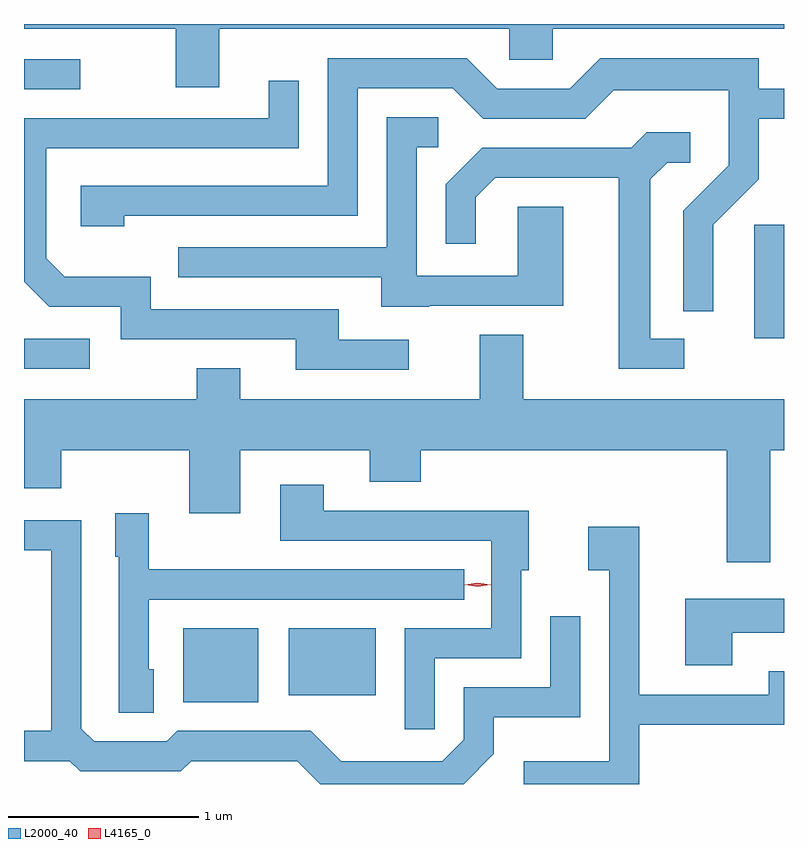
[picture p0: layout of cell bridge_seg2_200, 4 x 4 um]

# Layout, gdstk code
import gdstk
lib = gdstk.Library(unit=1e-6, precision=1e-09)
def R(c, l, rs):  # rectangles x0, y0, x1, y1
    for r in rs: c.add(gdstk.rectangle(r[:2], r[2:], *l))
def P(c, l, *ps):  # polygons
    for p in ps: c.add(gdstk.Polygon(p, *l))
L2000_40 = (2000, 40)
L4165_0 = (4165, 0)

bridge_seg2_200 = lib.new_cell('bridge_seg2_200')
R(bridge_seg2_200, L2000_40, [(1066.221,1035.891,1066.614,1036.279), (1066.776,1035.926,1067.234,1036.279), (1065.382,1037.646,1065.728,1037.804), (1069.226,1037.806,1069.382,1038.404), (1065.382,1039.116,1065.678,1039.274)])
P(bridge_seg2_200, L2000_40, [(1066.409,1039.436),(1067.936,1039.436),(1067.936,1039.271),(1068.164,1039.271),(1068.164,1039.436),(1069.382,1039.436),(1069.382,1039.46),(1065.382,1039.46),(1065.382,1039.436),(1066.181,1039.436),(1066.181,1039.126),(1066.409,1039.126)],
  [(1069.009,1038.404),(1069.249,1038.644),(1069.249,1038.961),(1069.382,1038.961),(1069.382,1039.119),(1069.249,1039.119),(1069.249,1039.279),(1068.414,1039.279),(1068.254,1039.119),(1067.872,1039.119),(1067.712,1039.279),(1066.981,1039.279),(1066.981,1038.609),(1065.681,1038.609),(1065.681,1038.396),(1065.909,1038.396),(1065.909,1038.451),(1067.139,1038.451),(1067.139,1039.121),(1067.639,1039.121),(1067.799,1038.961),(1068.337,1038.961),(1068.487,1039.111),(1069.091,1039.111),(1069.091,1038.717),(1068.851,1038.477),(1068.851,1037.948),(1069.009,1037.948)],
  [(1067.408,1037.799),(1067.039,1037.799),(1067.039,1037.959),(1066.049,1037.959),(1066.049,1038.129),(1065.597,1038.129),(1065.499,1038.227),(1065.499,1038.806),(1066.829,1038.806),(1066.829,1039.162),(1066.671,1039.162),(1066.671,1038.964),(1065.382,1038.964),(1065.382,1038.103),(1065.514,1037.971),(1065.891,1037.971),(1065.891,1037.801),(1066.811,1037.801),(1066.811,1037.641),(1067.408,1037.641)],
  [(1067.515,1037.976),(1068.219,1037.976),(1068.219,1038.499),(1067.981,1038.499),(1067.981,1038.134),(1067.449,1038.134),(1067.449,1038.811),(1067.563,1038.811),(1067.563,1038.969),(1067.291,1038.969),(1067.291,1038.284),(1066.193,1038.284),(1066.193,1038.126),(1067.261,1038.126),(1067.261,1037.971),(1067.515,1037.971)],
  [(1068.858,1037.804),(1068.679,1037.804),(1068.679,1038.644),(1068.767,1038.731),(1068.888,1038.731),(1068.888,1038.889),(1068.659,1038.889),(1068.579,1038.809),(1067.794,1038.809),(1067.601,1038.617),(1067.601,1038.303),(1067.759,1038.303),(1067.759,1038.549),(1067.862,1038.651),(1068.511,1038.651),(1068.511,1037.646),(1068.858,1037.646)],
  [(1069.309,1037.216),(1069.382,1037.216),(1069.382,1037.484),(1068.009,1037.484),(1068.009,1037.824),(1067.781,1037.824),(1067.781,1037.484),(1066.519,1037.484),(1066.519,1037.649),(1066.291,1037.649),(1066.291,1037.484),(1065.382,1037.484),(1065.382,1037.016),(1065.579,1037.016),(1065.579,1037.216),(1066.251,1037.216),(1066.251,1036.886),(1066.519,1036.886),(1066.519,1037.216),(1067.201,1037.216),(1067.201,1037.051),(1067.469,1037.051),(1067.469,1037.216),(1069.081,1037.216),(1069.081,1036.626),(1069.309,1036.626)],
  [(1067.544,1036.121),(1067.999,1036.121),(1067.999,1036.586),(1068.039,1036.586),(1068.039,1036.899),(1066.959,1036.899),(1066.959,1037.034),(1066.731,1037.034),(1066.731,1036.741),(1067.841,1036.741),(1067.841,1036.279),(1067.386,1036.279),(1067.386,1035.748),(1067.544,1035.748)],
  [(1066.064,1036.064),(1066.039,1036.064),(1066.039,1036.431),(1067.698,1036.431),(1067.698,1036.589),(1066.039,1036.589),(1066.039,1036.884),(1065.861,1036.884),(1065.861,1036.656),(1065.881,1036.656),(1065.881,1035.836),(1066.064,1035.836)],
  [(1067.854,1035.619),(1067.854,1035.811),(1068.309,1035.811),(1068.309,1036.343),(1068.151,1036.343),(1068.151,1035.969),(1067.696,1035.969),(1067.696,1035.692),(1067.584,1035.579),(1067.052,1035.579),(1066.892,1035.739),(1066.189,1035.739),(1066.134,1035.684),(1065.752,1035.684),(1065.684,1035.752),(1065.684,1036.849),(1065.382,1036.849),(1065.382,1036.691),(1065.526,1036.691),(1065.526,1035.739),(1065.382,1035.739),(1065.382,1035.581),(1065.624,1035.581),(1065.679,1035.526),(1066.207,1035.526),(1066.262,1035.581),(1066.819,1035.581),(1066.94,1035.46),(1067.696,1035.46)],
  [(1068.619,1035.771),(1069.382,1035.771),(1069.382,1036.054),(1069.301,1036.054),(1069.301,1035.929),(1068.619,1035.929),(1068.619,1036.814),(1068.351,1036.814),(1068.351,1036.586),(1068.461,1036.586),(1068.461,1035.579),(1068.013,1035.579),(1068.013,1035.46),(1068.619,1035.46)],
  [(1069.109,1036.256),(1069.382,1036.256),(1069.382,1036.434),(1068.861,1036.434),(1068.861,1036.086),(1069.109,1036.086)])
P(bridge_seg2_200, L4165_0, [(1067.769,1036.5),(1067.7,1036.51),(1067.699,1036.51),(1067.7,1036.51),(1067.769,1036.52),(1067.838,1036.51),(1067.838,1036.51),(1067.838,1036.51)],
  [(1067.77,1036.499),(1067.703,1036.508),(1067.703,1036.509),(1067.703,1036.509),(1067.77,1036.519),(1067.836,1036.509),(1067.836,1036.509),(1067.836,1036.508)])

lib.write_gds('bridge_seg2_200.gds')
